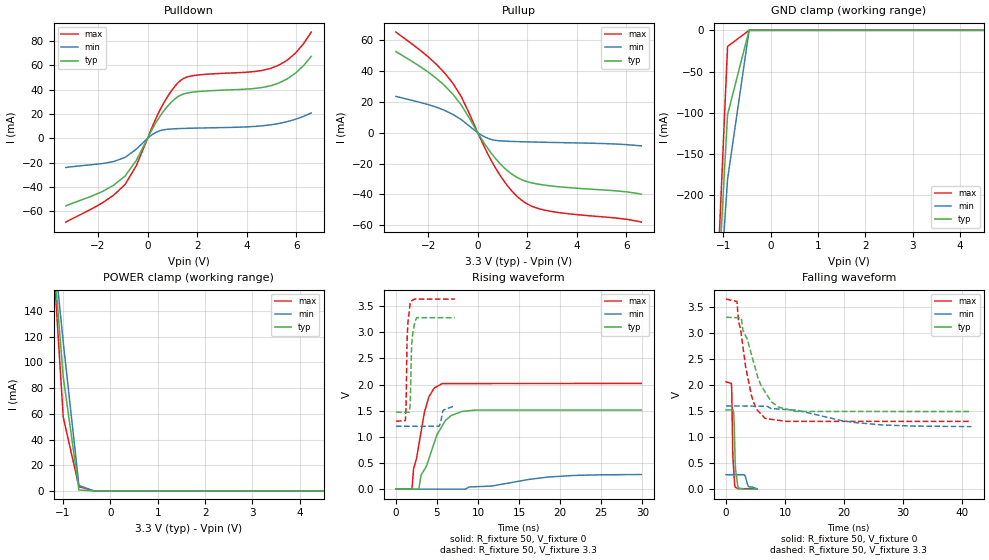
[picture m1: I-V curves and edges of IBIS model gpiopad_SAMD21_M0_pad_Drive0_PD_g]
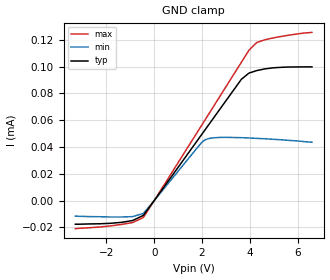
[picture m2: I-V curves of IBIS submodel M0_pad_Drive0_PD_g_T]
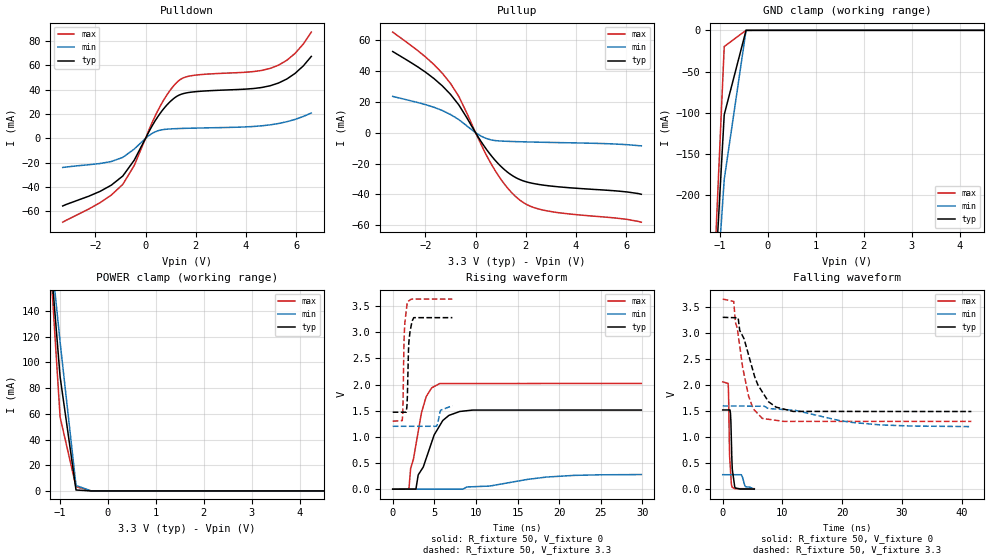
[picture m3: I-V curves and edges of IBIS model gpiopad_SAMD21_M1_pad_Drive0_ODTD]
|   - ATMEL Microcontrollers -
|   IBIS model for SAMD21_TQFP64
[IBIS Ver]   4.2
[Comment char]  |_char
[File Name]   samd21_3t64.ibs
[File Rev]   1.1
[Date]   16-SEP-2015 11:10:03
[Source]   By GENIBIS V3.6 - GENerate chip IBIS model - 11-SEP-2015
[Notes]   Property of ATMEL Corporation
[Disclaimer]
                  (C) Copyright ATMEL Nantes 2002-2015
Atmel Nantes makes no warranty for the use of its products, other than
those expressly contained in the Company's standard warranty which is detailed
in Atmel's Terms and Conditions located on the Company's web site. The Company
assumes no responsability for any errors which may appear in this document.
The user is granted this license only to use the IBIS model and is not granted
rights to sell, load, rent, lease or license the IBIS model in whole or in part,
or in modified form to anyone other than user. User may modify the IBIS model
to suit its specific applications but rights to derivative works and such
modifications shall belong to Atmel Nantes.
This IBIS model is provided on an \"AS IS\" basis and Atmel Nantes makes
absolutely no warranty with respect to the information contained herein.
[Copyright]   Copyright (c) 2002-2015 by ATMEL Nantes SA
|   COMPONENT : SAMD21_TQFP64
[Component]   SAMD21_TQFP64
[Manufacturer]  ATMEL Nantes SAS
[Package]
| Package family : TQFP_L
| RLC file   : V1.0
| RLCEDIT tool   : V1.3-2009/04/07
| variable   typ   min   max
R_pkg   233.03m   114.16m   280.35m
L_pkg   4.91n   2.94n   5.85n
C_pkg   376.48f   368.75f   392.53f
[Pin]   signal_name   model_name   R_pin   L_pin   C_pin
|   Real model names   <--->   IBIS model names
|   gpiopadrw100m33v3p66k25   gpiopad_SAMD21
|   gpiopadrw100m33v3p66k25   gpiopad_SAMD21
|   gpiopadrw100m33v3p66k25   gpiopad_SAMD21
|   gpiopadrw100m33v3p66k25   gpiopad_SAMD21
|   gpiopadrw100m33v3p66k25   gpiopad_SAMD21
|   gpiopadrw100m33v3p66k25   gpiopad_SAMD21
| gpiopadrtwihsmw100m33v3p66k25   gpiopadtwi_SAMD21
| gpiopadrtwihsmw100m33v3p66k25   gpiopadtwi_SAMD21
| gpiopadrtwihsmw100m33v3p66k25   gpiopadtwi_SAMD21
| gpiopadrtwihsmw100m33v3p66k25   gpiopadtwi_SAMD21
| gpiopadrtwihsmw100m33v3p66k25   gpiopadtwi_SAMD21
| gpiopadrtwihsmw100m33v3p66k25   gpiopadtwi_SAMD21
| gpiopadrtwihsmw100m33v3p66k25   gpiopadtwi_SAMD21
| gpiopadrtwihsmw100m33v3p66k25   gpiopadtwi_SAMD21
| gpiopadrtwihsmw100m33v3p66k25   gpiopadtwi_SAMD21
   1   PA00   gpiopad_SAMD21  253.05m   5.20n  376.24f
   2   PA01   gpiopad_SAMD21  240.79m   5.02n  375.92f
   3   PA02   gpiopad_SAMD21  238.67m   4.99n  375.86f
   4   PA03   gpiopad_SAMD21  231.24m   4.89n  375.67f
   5   PB04   gpiopad_SAMD21  223.73m   4.78n  375.47f
   6   PB05   gpiopad_SAMD21  219.00m   4.71n  375.34f
   7   GNDANA   GND  121.61m   3.31n  382.97f
   8   VDDANA   POWER  146.92m   3.67n  379.27f
   9   PB06   gpiopad_SAMD21  220.31m   4.73n  375.38f
   10   PB07   gpiopad_SAMD21  217.25m   4.69n  375.30f
   11   PB08   gpiopad_SAMD21  215.42m   4.66n  375.25f
   12   PB09   gpiopad_SAMD21  216.92m   4.68n  375.29f
   13   PA04   gpiopad_SAMD21  221.77m   4.75n  375.42f
   14   PA05   gpiopad_SAMD21  227.78m   4.84n  375.58f
   15   PA06   gpiopad_SAMD21  237.66m   4.98n  375.84f
   16   PA07   gpiopad_SAMD21  249.57m   5.15n  376.15f
   17   PA08   gpiopadtwi_SAMD21  272.90m   5.49n  376.77f
   18   PA09   gpiopadtwi_SAMD21  266.43m   5.39n  376.60f
   19   PA10   gpiopad_SAMD21  257.38m   5.26n  376.36f
   20   PA11   gpiopad_SAMD21  250.29m   5.16n  376.17f
   21   VDDIO   POWER  245.59m   5.09n  376.05f
   22   GND   GND  243.72m   5.07n  376.00f
   23   PB10   gpiopad_SAMD21  244.59m   5.08n  376.02f
   24   PB11   gpiopad_SAMD21  248.05m   5.13n  376.11f
   25   PB12   gpiopadtwi_SAMD21  250.46m   5.16n  376.18f
   26   PB13   gpiopadtwi_SAMD21  253.11m   5.20n  376.25f
   27   PB14   gpiopad_SAMD21  243.39m   5.06n  375.99f
   28   PB15   gpiopad_SAMD21  245.08m   5.09n  376.03f
   29   PA12   gpiopadtwi_SAMD21  247.93m   5.13n  376.11f
   30   PA13   gpiopadtwi_SAMD21  252.38m   5.19n  376.23f
   31   PA14   gpiopad_SAMD21  257.65m   5.27n  376.37f
   32   PA15   gpiopad_SAMD21  255.24m   5.23n  376.30f
   33   GND   GND  249.57m   5.15n  376.15f
   34   VDDIO   POWER  237.66m   4.98n  375.84f
   35   PA16   gpiopadtwi_SAMD21  232.49m   4.90n  375.70f
   36   PA17   gpiopadtwi_SAMD21  225.87m   4.81n  375.53f
   37   PA18   gpiopad_SAMD21  219.67m   4.72n  375.36f
   38   PA19   gpiopad_SAMD21  216.66m   4.68n  375.28f
   39   PB16   gpiopadtwi_SAMD21  217.20m   4.68n  375.30f
   40   PB17   gpiopadtwi_SAMD21  219.77m   4.72n  375.37f
   41   PA20   gpiopad_SAMD21  222.58m   4.76n  375.44f
   42   PA21   gpiopad_SAMD21  227.05m   4.83n  375.56f
   43   PA22   gpiopadtwi_SAMD21  226.59m   4.82n  375.55f
   44   PA23   gpiopadtwi_SAMD21  232.45m   4.90n  375.70f
   45   PA24   NC  241.68m   5.04n  375.94f
   46   PA25   NC  239.10m   5.00n  375.88f
   47   GND   GND  250.07m   5.16n  376.17f
   48   VDDIO   POWER  263.42m   5.35n  376.52f
   49   PB22   gpiopad_SAMD21  269.66m   5.44n  376.68f
   50   PB23   gpiopad_SAMD21  259.56m   5.29n  376.42f
   51   PA27   gpiopad_SAMD21  252.60m   5.19n  376.23f
   52   RESET_N   gpiopad_SAMD21  248.18m   5.13n  376.11f
   53   PA28   gpiopad_SAMD21  244.14m   5.07n  376.01f
   54   GND   GND  134.48m   3.49n  386.03f
   55   VDDCORE   POWER  133.64m   3.48n  385.82f
   56   VDDIO   POWER  162.59m   3.90n  380.92f
   57   PA30   gpiopad_SAMD21  248.58m   5.14n  376.13f
   58   PA31   gpiopad_SAMD21  244.53m   5.08n  376.02f
   59   PB30   gpiopadtwi_SAMD21  242.69m   5.05n  375.97f
   60   PB31   gpiopadtwi_SAMD21  242.73m   5.05n  375.97f
   61   PB00   gpiopad_SAMD21  244.87m   5.08n  376.03f
   62   PB01   gpiopad_SAMD21  242.14m   5.04n  375.96f
   63   PB02   gpiopad_SAMD21  247.76m   5.12n  376.10f
   64   PB03   gpiopad_SAMD21  258.38m   5.28n  376.38f
|   MODEL SELECTOR : gpiopadtwi_SAMD21
[Model Selector]   gpiopadtwi_SAMD21
gpiopadtwi_SAMD21_M8_TwiOnInt_gptwih   Twi On Int TwiOnInt
gpiopadtwi_SAMD21_M7_TwiOnFp_gpitwih   Twi On Fp TwiOnFp
gpiopadtwi_SAMD21_M6_TwiOn_gpioptwih   Twi On TwiOn
gpiopadtwi_SAMD21_M5_Drive1_PU_gtwih   drive 1 PU
gpiopadtwi_SAMD21_M4_Drive1_ODTdtwih   drive 1 ODT disabled
gpiopadtwi_SAMD21_M3_Drive1_NOPUtwih   drive 1 NOPU
gpiopadtwi_SAMD21_M2_Drive0_PU_gtwih   drive 0 PU
gpiopadtwi_SAMD21_M1_Drive0_ODTdtwih   drive 0 ODT disabled
gpiopadtwi_SAMD21_M0_Drive0_NOPUtwih   drive 0 NOPU
|   MODEL SELECTOR : gpiopad_SAMD21
[Model Selector]   gpiopad_SAMD21
gpiopad_SAMD21_M5_pad_Drive1_PU_g   drive 1 PU
gpiopad_SAMD21_M4_pad_Drive1_ODTD   drive 1 ODT Disabled
gpiopad_SAMD21_M3_pad_Drive1_PD_g   drive 1 PD
gpiopad_SAMD21_M2_pad_Drive0_PU_g   drive 0 PU
gpiopad_SAMD21_M1_pad_Drive0_ODTD   drive 0 ODT Disabled
gpiopad_SAMD21_M0_pad_Drive0_PD_g   drive 0 PD
| Models and submodels in the file (23): gpiopad_SAMD21_M0_pad_Drive0_PD_g (I/O), M0_pad_Drive0_PD_g_T (Dynamic_clamp), gpiopad_SAMD21_M1_pad_Drive0_ODTD (I/O), gpiopad_SAMD21_M2_pad_Drive0_PU_g (I/O), M2_pad_Drive0_PU_g_T (Dynamic_clamp), gpiopad_SAMD21_M3_pad_Drive1_PD_g (I/O), M3_pad_Drive1_PD_g_T (Dynamic_clamp), gpiopad_SAMD21_M4_pad_Drive1_ODTD (I/O), gpiopad_SAMD21_M5_pad_Drive1_PU_g (I/O), M5_pad_Drive1_PU_g_T (Dynamic_clamp), gpiopadtwi_SAMD21_M0_Drive0_NOPUtwih (I/O), M0_Drive0_NOPUtwih_T (Dynamic_clamp), gpiopadtwi_SAMD21_M1_Drive0_ODTdtwih (I/O), gpiopadtwi_SAMD21_M2_Drive0_PU_gtwih (I/O), M2_Drive0_PU_gtwih_T (Dynamic_clamp), gpiopadtwi_SAMD21_M3_Drive1_NOPUtwih (I/O), M3_Drive1_NOPUtwih_T (Dynamic_clamp), gpiopadtwi_SAMD21_M4_Drive1_ODTdtwih (I/O), gpiopadtwi_SAMD21_M5_Drive1_PU_gtwih (I/O), M5_Drive1_PU_gtwih_T (Dynamic_clamp), gpiopadtwi_SAMD21_M6_TwiOn_gpioptwih (I/O_open_sink), gpiopadtwi_SAMD21_M7_TwiOnFp_gpitwih (I/O_open_sink), gpiopadtwi_SAMD21_M8_TwiOnInt_gptwih (I/O_open_sink)
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|   MODEL : gpiopad_SAMD21_M0_pad_Drive0_PD_g
[Model] gpiopad_SAMD21_M0_pad_Drive0_PD_g
Model_type I/O
Vinl  =  0.99
Vinh  =  2.31
Vmeas =  1.650
| Capacitance   typ   min   max
C_comp   1.45231p   1.42406p   1.52865p
| Variables   typ   min   max
[GND Clamp Reference]   0   0   0
[POWER Clamp Reference]   3.3   1.6   3.65
[Pulldown Reference]   0   0   0
[Pullup Reference]   3.3   1.6   3.65
[Temperature Range]   25   105   -40
[Voltage Range]   3.3   1.6   3.65
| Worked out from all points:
|   slope of the pulldown table from 0 to 0.495 V, typ, clamps not added: 27.5 ohm
|   slope of the pullup table from 0 to 0.495 V, typ, clamps not added: 40.8 ohm
|   falling waveform, R_fixture 50, V_fixture 0: 20-80 % time 310ps typ, 447ps min, 268ps max; typ from 1.52 V to 0.005 V
|   falling waveform, R_fixture 50, V_fixture 3.3: 20-80 % time 3.37ns typ, 10.2ns min, 2.19ns max; typ from 3.3 V to 1.49 V
|   rising waveform, R_fixture 50, V_fixture 0: 20-80 % time 2.45ns typ, 6.98ns min, 1.57ns max; typ from 0 V to 1.51 V
|   rising waveform, R_fixture 50, V_fixture 3.3: 20-80 % time 243ps typ, 444ps min, 206ps max; typ from 1.47 V to 3.28 V
[GND Clamp]
| Voltage   I(typ)   I(min)   I(max)
-3.3V     -2.648A    -2.29A     -3.229A
-1.364V   -582.6mA   -574.2mA   -618.1mA
-909.1mV  -102.2mA   -180.5mA   -19.58mA
-454.5mV  -21.35uA   -51.34uA   -12.12uA
6.6V      0A         0A         0A
[POWER Clamp]
| Voltage   I(typ)   I(min)   I(max)
-3.3V     1.364A     1.145A     1.657A
-1.327V   242.2mA    237.8mA    253.7mA
-995.5mV  88.95mA    115.9mA    57.49mA
-663.6mV  729.7uA    4.271mA    3.277mA
-350mV    1.89uA     6.551uA    83.14uA
6.6V      0A         0A         0A
[Pulldown]
| Voltage   I(typ)   I(min)   I(max)
-3.3V     -55.55mA   -23.94mA   -68.88mA
-1.818V   -43.63mA   -20.7mA    -52.94mA
-909.1mV  -30.98mA   -15.68mA   -37.89mA
-454.5mV  -18.04mA   -8.89mA    -22.41mA
154.7mV   6.272mA    2.59mA     7.905mA
567.2mV   20.14mA    6.629mA    25.86mA
979.7mV   30.15mA    7.712mA    39.51mA
1.341V    35.55mA    8.051mA    47.68mA
1.959V    38.25mA    8.397mA    51.83mA
4.959V    43.17mA    11.07mA    57.42mA
5.955V    53.35mA    15.56mA    69.8mA
6.6V      67.29mA    20.81mA    87.26mA
[Pullup]
| Voltage   I(typ)   I(min)   I(max)
-3.3V     52.59mA    23.53mA    65.18mA
-1.991V   39.2mA     18.18mA    49.05mA
-1.327V   30.39mA    14.41mA    38.57mA
-995.5mV  24.79mA    11.78mA    31.87mA
-663.6mV  17.93mA    8.464mA    23.38mA
103.1mV   -2.756mA   -1.095mA   -3.561mA
670.3mV   -15.78mA   -4.81mA    -21.55mA
1.238V    -25.1mA    -5.553mA   -35.09mA
1.753V    -30.28mA   -5.829mA   -43.5mA
2.217V    -32.6mA    -6.025mA   -47.84mA
2.888V    -34.34mA   -6.261mA   -50.75mA
6.6V      -39.86mA   -8.525mA   -57.96mA
[Ramp]
dV/dt_r   0.913465/2.46764n  0.168178/6.98667n  1.23694/1.61372n
dV/dt_f   1.09661/3.43885n  0.238316/10.2022n  1.41004/2.19264n
R_load = 50
[Falling Waveform]
R_fixture = 50
V_fixture = 0
V_fixture_min = 0
V_fixture_max = 0
| Time   V(typ)   V(min)   V(max)
0s        1.522V     280.3mV    2.062V
901.1ps   1.522V     280.3mV    2.032V
986.8ps   1.522V     280.3mV    1.787V
1.12ns    1.522V     280.3mV    805mV
1.162ns   1.522V     280.3mV    621.2mV
1.372ns   1.29V      280.3mV    243.8mV
1.559ns   507.4mV    280.3mV    39.67mV
2.089ns   25.99mV    280.3mV    11.94mV
3.126ns   4.929mV    277.7mV    11.9mV
5.285ns   4.899mV    2.701mV    11.83mV
[Falling Waveform]
R_fixture = 50
V_fixture = 3.3
V_fixture_min = 1.6
V_fixture_max = 3.65
| Time   V(typ)   V(min)   V(max)
0s        3.3V       1.6V       3.65V
1.842ns   3.293V     1.598V     3.605V
2.124ns   3.292V     1.598V     3.206V
2.584ns   3.29V      1.598V     2.971V
2.851ns   3.049V     1.597V     2.747V
4.322ns   2.582V     1.596V     1.791V
6.634ns   1.868V     1.594V     1.359V
11.79ns   1.494V     1.519V     1.304V
21.69ns   1.494V     1.282V     1.304V
41.63ns   1.492V     1.203V     1.303V
[Rising Waveform]
R_fixture = 50
V_fixture = 0
V_fixture_min = 0
V_fixture_max = 0
| Time   V(typ)   V(min)   V(max)
0s        2.582nV    16.82nV    2.172nV
1.925ns   1.212mV    16.82nV    778.4uV
2.149ns   1.353mV    16.82nV    392.5mV
2.79ns    1.757mV    16.82nV    849mV
3.065ns   272.6mV    16.82nV    1.101V
4.022ns   587mV      16.82nV    1.77V
5.643ns   1.213V     16.82nV    2.02V
6.758ns   1.411V     16.82nV    2.02V
9.62ns    1.513V     46.47mV    2.02V
29.88ns   1.513V     279.7mV    2.023V
[Rising Waveform]
R_fixture = 50
V_fixture = 3.3
V_fixture_min = 1.6
V_fixture_max = 3.65
| Time   V(typ)   V(min)   V(max)
0s        1.472V     1.203V     1.3V
1.147ns   1.472V     1.203V     1.311V
1.24ns    1.472V     1.203V     1.655V
1.39ns    1.472V     1.203V     2.982V
1.758ns   1.76V      1.203V     3.584V
1.931ns   2.794V     1.203V     3.602V
2.527ns   3.281V     1.203V     3.636V
5.244ns   3.281V     1.203V     3.636V
5.754ns   3.281V     1.51V      3.636V
7.17ns    3.281V     1.596V     3.636V
[Add Submodel]
| Submodel Name Mode
M0_pad_Drive0_PD_g_T Non-Driving
| Submodel
[Submodel]  M0_pad_Drive0_PD_g_T
Submodel_type Dynamic_clamp
[GND Clamp]
| Voltage   I(typ)   I(min)   I(max)
-3.3V     -17.64uA   -11.56uA   -20.93uA
-1.364V   -16.21uA   -12.22uA   -17.76uA
-909.1mV  -14.89uA   -11.95uA   -16.44uA
-454.5mV  -11.05uA   -9.587uA   -12.61uA
2.062V    51.2uA     44.52uA    58.37uA
2.527V    62.72uA    46.91uA    71.5uA
3.65V     90.56uA    46.97uA    103.3uA
3.964V    95.13uA    46.73uA    112.2uA
4.295V    97.03uA    46.43uA    118uA
4.627V    98.26uA    46.13uA    120uA
5.291V    99.42uA    45.42uA    122.4uA
6.6V      99.78uA    43.54uA    125.5uA
|   MODEL : gpiopad_SAMD21_M1_pad_Drive0_ODTD
[Model] gpiopad_SAMD21_M1_pad_Drive0_ODTD
Model_type I/O
Vinl  =  0.99
Vinh  =  2.31
Vmeas =  1.650
| Capacitance   typ   min   max
C_comp   1.45231p   1.42406p   1.52865p
| Variables   typ   min   max
[GND Clamp Reference]   0   0   0
[POWER Clamp Reference]   3.3   1.6   3.65
[Pulldown Reference]   0   0   0
[Pullup Reference]   3.3   1.6   3.65
[Temperature Range]   25   105   -40
[Voltage Range]   3.3   1.6   3.65
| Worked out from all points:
|   slope of the pulldown table from 0 to 0.495 V, typ, clamps not added: 27.5 ohm
|   slope of the pullup table from 0 to 0.495 V, typ, clamps not added: 40.8 ohm
|   falling waveform, R_fixture 50, V_fixture 0: 20-80 % time 310ps typ, 447ps min, 268ps max; typ from 1.52 V to 0.005 V
|   falling waveform, R_fixture 50, V_fixture 3.3: 20-80 % time 3.37ns typ, 10.2ns min, 2.19ns max; typ from 3.3 V to 1.49 V
|   rising waveform, R_fixture 50, V_fixture 0: 20-80 % time 2.45ns typ, 6.98ns min, 1.57ns max; typ from 0 V to 1.51 V
|   rising waveform, R_fixture 50, V_fixture 3.3: 20-80 % time 243ps typ, 444ps min, 206ps max; typ from 1.47 V to 3.28 V
[GND Clamp]
| Voltage   I(typ)   I(min)   I(max)
-3.3V     -2.648A    -2.29A     -3.229A
-1.364V   -582.6mA   -574.2mA   -618.1mA
-909.1mV  -102.2mA   -180.5mA   -19.58mA
-454.5mV  -21.35uA   -51.34uA   -12.12uA
6.6V      0A         0A         0A
[POWER Clamp]
| Voltage   I(typ)   I(min)   I(max)
-3.3V     1.364A     1.145A     1.657A
-1.327V   242.2mA    237.8mA    253.7mA
-995.5mV  88.95mA    115.9mA    57.49mA
-663.6mV  729.7uA    4.271mA    3.277mA
-350mV    1.89uA     6.551uA    83.14uA
6.6V      0A         0A         0A
[Pulldown]
| Voltage   I(typ)   I(min)   I(max)
-3.3V     -55.55mA   -23.94mA   -68.88mA
-1.818V   -43.63mA   -20.7mA    -52.94mA
-909.1mV  -30.98mA   -15.68mA   -37.89mA
-454.5mV  -18.04mA   -8.89mA    -22.41mA
154.7mV   6.272mA    2.59mA     7.905mA
567.2mV   20.14mA    6.629mA    25.86mA
979.7mV   30.15mA    7.712mA    39.51mA
1.341V    35.55mA    8.051mA    47.68mA
1.959V    38.25mA    8.397mA    51.83mA
4.959V    43.17mA    11.07mA    57.42mA
5.955V    53.35mA    15.56mA    69.8mA
6.6V      67.29mA    20.81mA    87.26mA
[Pullup]
| Voltage   I(typ)   I(min)   I(max)
-3.3V     52.59mA    23.53mA    65.18mA
-1.991V   39.2mA     18.18mA    49.05mA
-1.327V   30.39mA    14.41mA    38.57mA
-995.5mV  24.79mA    11.78mA    31.87mA
-663.6mV  17.93mA    8.464mA    23.38mA
103.1mV   -2.756mA   -1.095mA   -3.561mA
670.3mV   -15.78mA   -4.81mA    -21.55mA
1.238V    -25.1mA    -5.553mA   -35.09mA
1.753V    -30.28mA   -5.829mA   -43.5mA
2.217V    -32.6mA    -6.025mA   -47.84mA
2.888V    -34.34mA   -6.261mA   -50.75mA
6.6V      -39.86mA   -8.525mA   -57.96mA
[Ramp]
dV/dt_r   0.913465/2.46764n  0.168178/6.98667n  1.23694/1.61372n
dV/dt_f   1.09661/3.43885n  0.238316/10.2022n  1.41004/2.19264n
R_load = 50
[Falling Waveform]
R_fixture = 50
V_fixture = 0
V_fixture_min = 0
V_fixture_max = 0
| Time   V(typ)   V(min)   V(max)
0s        1.522V     280.3mV    2.062V
901.1ps   1.522V     280.3mV    2.032V
986.8ps   1.522V     280.3mV    1.787V
1.12ns    1.522V     280.3mV    805mV
1.162ns   1.522V     280.3mV    621.2mV
1.372ns   1.29V      280.3mV    243.8mV
1.559ns   507.4mV    280.3mV    39.67mV
2.089ns   25.99mV    280.3mV    11.94mV
3.126ns   4.929mV    277.7mV    11.9mV
5.285ns   4.899mV    2.701mV    11.83mV
[Falling Waveform]
R_fixture = 50
V_fixture = 3.3
V_fixture_min = 1.6
V_fixture_max = 3.65
| Time   V(typ)   V(min)   V(max)
0s        3.3V       1.6V       3.65V
1.842ns   3.293V     1.598V     3.605V
2.124ns   3.292V     1.598V     3.206V
2.584ns   3.29V      1.598V     2.971V
2.851ns   3.049V     1.597V     2.747V
4.322ns   2.582V     1.596V     1.791V
6.634ns   1.868V     1.594V     1.359V
11.79ns   1.494V     1.519V     1.304V
21.69ns   1.494V     1.282V     1.304V
41.63ns   1.492V     1.203V     1.303V
[Rising Waveform]
R_fixture = 50
V_fixture = 0
V_fixture_min = 0
V_fixture_max = 0
| Time   V(typ)   V(min)   V(max)
0s        2.582nV    16.82nV    2.172nV
1.925ns   1.212mV    16.82nV    778.4uV
2.149ns   1.353mV    16.82nV    392.5mV
2.79ns    1.757mV    16.82nV    849mV
3.065ns   272.6mV    16.82nV    1.101V
4.022ns   587mV      16.82nV    1.77V
5.643ns   1.213V     16.82nV    2.02V
6.758ns   1.411V     16.82nV    2.02V
9.62ns    1.513V     46.47mV    2.02V
29.88ns   1.513V     279.7mV    2.023V
[Rising Waveform]
R_fixture = 50
V_fixture = 3.3
V_fixture_min = 1.6
V_fixture_max = 3.65
| Time   V(typ)   V(min)   V(max)
0s        1.472V     1.203V     1.3V
1.147ns   1.472V     1.203V     1.311V
1.24ns    1.472V     1.203V     1.655V
1.39ns    1.472V     1.203V     2.982V
1.758ns   1.76V      1.203V     3.584V
1.931ns   2.794V     1.203V     3.602V
2.527ns   3.281V     1.203V     3.636V
5.244ns   3.281V     1.203V     3.636V
5.754ns   3.281V     1.51V      3.636V
7.17ns    3.281V     1.596V     3.636V
